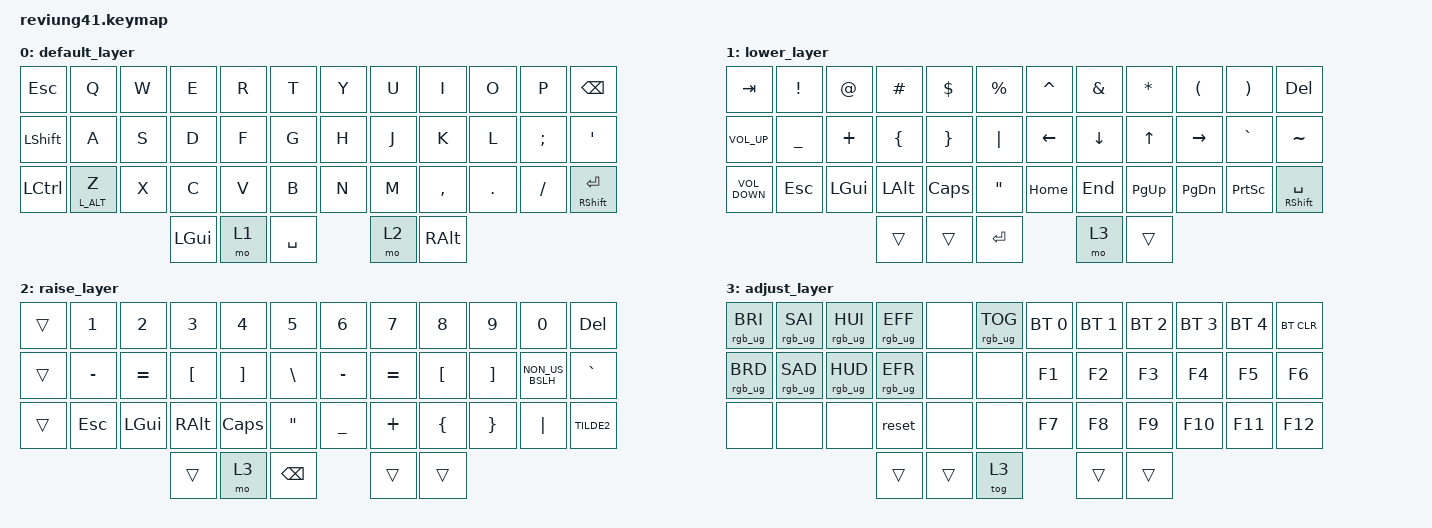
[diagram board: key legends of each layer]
/*
 * Copyright (c) 2020 The ZMK Contributors
 *
 * SPDX-License-Identifier: MIT
 */

#include <behaviors.dtsi>
#include <dt-bindings/zmk/keys.h>
#include <dt-bindings/zmk/bt.h>
#include <dt-bindings/zmk/rgb.h>

/ {
        keymap {
                compatible = "zmk,keymap";

                default_layer {
// -------------------------------------------------------------------------------------
// |  ESC |  Q  |  W  |  E  |  R  |  T  |   |  Y  |  U   |  I  |  O  |  P  |   BKSP    |
// | SHFT |  A  |  S  |  D  |  F  |  G  |   |  H  |  J   |  K  |  L  |  ;  |    '      |
// | CTRL |  Z  |  X  |  C  |  V  |  B  |   |  N  |  M   |  ,  |  .  |  /  | SHFT(RET) |
//                         | GUI | LWR | SPC | RSE  | ALT |
                        bindings = <
   &kp ESC   &kp Q &kp W &kp E &kp R &kp T   &kp Y &kp U  &kp I     &kp O   &kp P    &kp BSPC
   &kp LSHFT &kp A &kp S &kp D &kp F &kp G   &kp H &kp J  &kp K     &kp L   &kp SEMI &kp SQT
   &kp LCTRL &mt L_ALT Z  &kp X &kp C &kp V &kp B   &kp N &kp M  &kp COMMA &kp DOT &kp FSLH &mt RSHFT RET
                        &kp LGUI  &mo 1 &kp SPACE &mo 2  &kp RALT
                        >;
                };

                lower_layer {
// ------------------------------------------------------------------------------------
// | TAB |  !  |  @  |  #  |  $  |  %  |   |  ^  |  &  |  *  |  (  |  )  |      DEL    |
// |VOLUP|  _  |  +  |  {  |  }  | "|" |   | LFT | DWN |  UP | RGT |  `  |       ~     |
// |VOLD | ESC | GUI | ALT | CAPS|  "  |   | HOME| END | PGUP| PGDN| PRSC| SHFT(SPACE) |
//                       |     |     | RET | ADJ |     |
                        bindings = <
   &kp TAB &kp EXCL  &kp AT      &kp HASH &kp DLLR &kp PRCNT      &kp CARET &kp AMPS &kp ASTRK &kp LPAR  &kp RPAR  &kp DEL
   &kp C_VOLUME_UP &kp UNDER &kp PLUS    &kp LBRC &kp RBRC &kp PIPE       &kp LEFT  &kp DOWN &kp UP    &kp RIGHT &kp GRAVE &kp TILDE
   &kp C_VOLUME_DOWN &kp ESC   &kp LGUI    &kp LALT &kp CLCK &kp DQT        &kp HOME  &kp END  &kp PG_UP &kp PG_DN &kp PSCRN &mt RSHFT SPACE
                                 &trans      &trans       &kp RET        &mo 3       &trans
                        >;
                };

                raise_layer {
// ----------------------------------------------------------------------------
// |    |  1  |  2  |  3  |  4  |  5  |   |  6  |  7  |  8  |  9  |  0  | DEL |
// |    |  -  |  =  |  [  |  ]  |  \  |   | -   | =   | [   |  ]  | \   | `   |
// |    | ESC | GUI | ALT | CAPS|  "  |   | _   | +   |  {  | } | | | ~ |
//                       |     | ADJ | BKSP |    |     |
                        bindings = <
   &trans &kp N1    &kp N2    &kp N3    &kp N4    &kp N5        &kp N6    &kp N7    &kp N8    &kp N9    &kp N0    &kp DEL
   &trans &kp MINUS &kp EQUAL &kp LBKT  &kp RBKT  &kp BSLH      &kp MINUS    &kp EQUAL    &kp LBKT    &kp RBKT    &kp NON_US_BSLH    &kp GRAVE
   &trans &kp ESC   &kp LGUI  &kp RALT  &kp CLCK  &kp DQT       &kp UNDER    &kp PLUS    &kp LBRC    &kp RBRC   &kp PIPE   &kp TILDE2
                                &trans      &mo 3       &kp BSPC        &trans      &trans
                        >;
                };

                adjust_layer {
// -----------------------------------------------------------------------------------------
// | RGB BRI+ | RGB SAT+ | RGB HUE+ | RGB ANI+ |    | RGB TOG |   |  BT1  | BT2 | BT3 | BT4 | BT5 | BT CLR |
// | RGB BRI- | RGB SAT- | RGB HUE- | RGB ANI- |    |         |   |  F1   | F2  | F3  | F4  | F5  |   F6   |
// |          |          |          |   RESET  |    |         |   |   F7  | F8  | F9  | F10 | F11 |  F12   |
//                                              |     |     |     |     |     |
                        bindings = <
   &rgb_ug RGB_BRI &rgb_ug RGB_SAI &rgb_ug RGB_HUI &rgb_ug RGB_EFF &none &rgb_ug RGB_TOG    &bt BT_SEL 0 &bt BT_SEL 1 &bt BT_SEL 2 &bt BT_SEL 3 &bt BT_SEL 4 &bt BT_CLR
   &rgb_ug RGB_BRD &rgb_ug RGB_SAD &rgb_ug RGB_HUD &rgb_ug RGB_EFR &none &none              &kp F1        &kp F2        &kp F3        &kp F4        &kp F5        &kp F6
   &none           &none           &none           &reset           &none &none              &kp F7       &kp F8        &kp F9        &kp F10        &kp F11        &kp F12
                                                             &trans      &trans       &tog 3        &trans      &trans
                        >;
                };
        };
};
